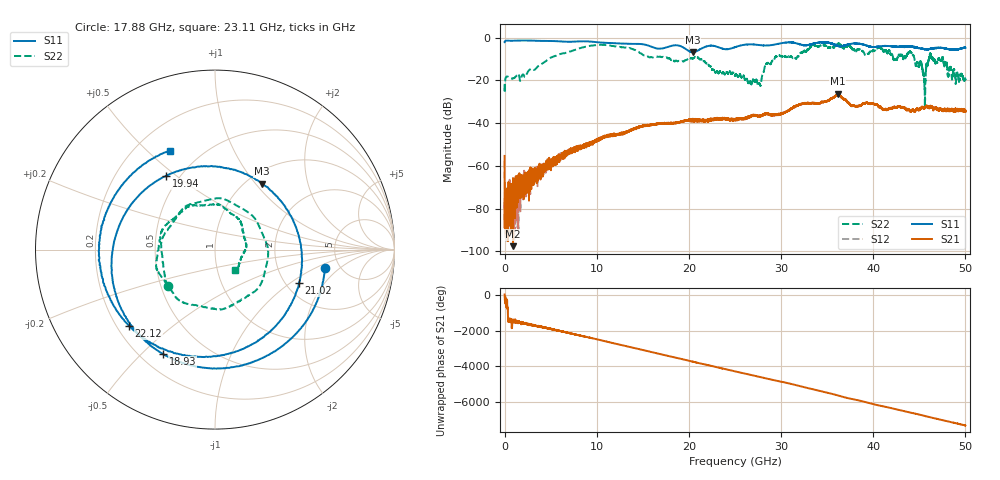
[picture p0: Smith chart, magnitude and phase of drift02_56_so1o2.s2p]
!Created with skrf (http://scikit-rf.org).
# Hz S RI R 50.0
!freq ReS11 ImS11 ReS21 ImS21 ReS12 ImS12 ReS22 ImS22
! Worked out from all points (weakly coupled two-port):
!   10001 points, 300 kHz to 50 GHz, reference 50 ohm
!   highest |S21| = -26.23 dB at 36.13 GHz (marker M1); lowest = -97.5 dB at 915.3 MHz (marker M2)
!   lowest |S11| = -6.9 dB at 20.44 GHz (marker M3), VSWR 2.64, Z = 58.6 + j54 ohm
!   |S11| at or under -10 dB: nowhere
!   |S22| runs from -32.6 to -2.5 dB; largest |S21 - S12| = 0.0055
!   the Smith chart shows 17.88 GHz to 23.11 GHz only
!   S11 on the Smith chart (normalised r, x): 17.88 GHz: 3.84, -1.25; 18.93 GHz: 0.29, -0.58; 19.94 GHz: 0.42, +0.46; 21.02 GHz: 2.35, -1.18; 22.12 GHz: 0.25, -0.36; 23.11 GHz: 0.34, +0.59
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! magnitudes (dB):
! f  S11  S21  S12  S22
! 300 kHz  -2.1  -55.3  -57.8  -21.6
! 255.3 MHz  -1.4  -71.5  -88.3  -18.2
! 915.3 MHz  -1.5  -97.5  -70.1  -19.1
! 8.335 GHz  -1.7  -50.7  -51.2  -4.7
! 16.67 GHz  -5.2  -40.4  -40.3  -9.0
! 17.88 GHz  -4.1  -40.0  -39.8  -9.6
! 18.93 GHz  -3.7  -39.6  -39.5  -10.8
! 19.94 GHz  -6.1  -38.5  -38.5  -9.8
! 20.44 GHz  -6.9  -38.7  -38.6  -9.7
! 21.02 GHz  -5.9  -38.7  -38.5  -9.4
! 22.12 GHz  -3.9  -38.9  -38.6  -12.7
! 23.11 GHz  -4.3  -38.0  -37.9  -16.0
! 25 GHz  -4.5  -38.2  -38.3  -17.7
! 27.63 GHz  -3.5  -36.5  -36.6  -21.5
! 29.55 GHz  -3.0  -36.0  -35.9  -8.8
! 33.34 GHz  -3.0  -30.8  -30.6  -3.8
! 36.13 GHz  -3.9  -26.2  -27.0  -3.1
! 41.67 GHz  -3.9  -33.3  -33.5  -6.2
! 44.15 GHz  -4.2  -34.4  -34.2  -7.2
! 45.5 GHz  -5.4  -33.2  -33.0  -17.2
! 46.26 GHz  -5.2  -32.3  -32.5  -8.3
! 50 GHz  -4.7  -34.6  -34.3  -19.7
